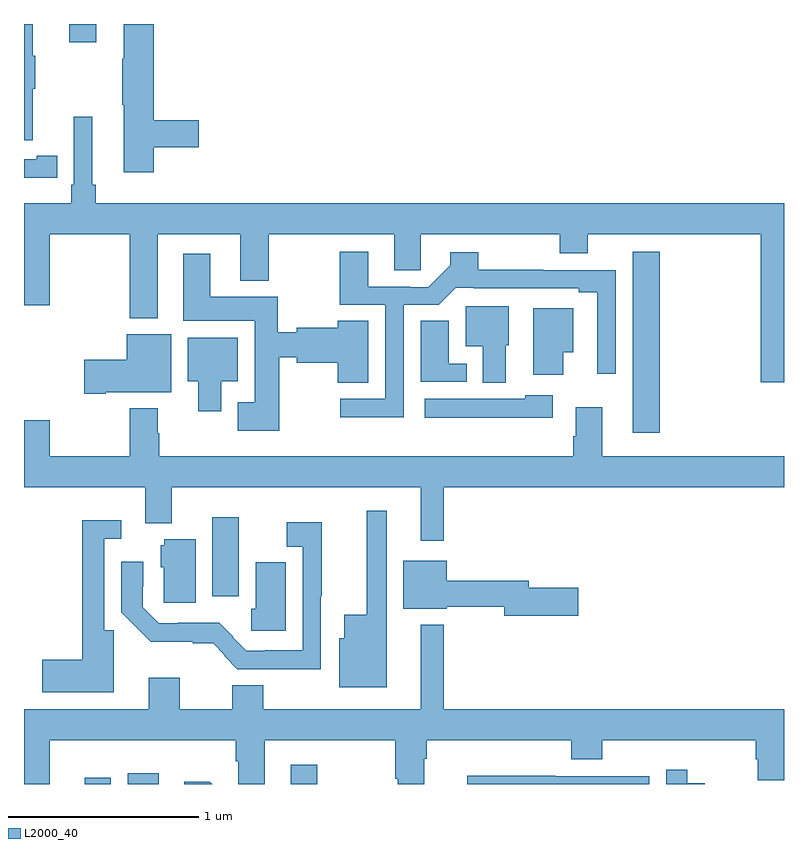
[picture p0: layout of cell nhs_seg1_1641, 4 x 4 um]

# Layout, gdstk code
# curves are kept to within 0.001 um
import gdstk
lib = gdstk.Library(unit=1e-6, precision=1e-09)
def R(c, l, rs):  # rectangles x0, y0, x1, y1
    for r in rs: c.add(gdstk.rectangle(r[:2], r[2:], *l))
def P(c, l, *ps):  # polygons
    for p in ps: c.add(gdstk.Polygon(p, *l))
L2000_40 = (2000, 40)

nhs_seg1_1641 = lib.new_cell('nhs_seg1_1641')
R(nhs_seg1_1641, L2000_40, [(201.32,522.199,201.457,522.232), (201.545,522.199,201.709,522.256), (202.403,522.199,202.543,522.301), (201.992,523.188,202.129,523.603), (204.203,524.049,204.347,525.001), (201.239,526.104,201.379,526.199)])
P(nhs_seg1_1641, L2000_40, [(201.047,525.859),(201.058,525.859),(201.058,526.033),(201.047,526.033),(201.047,526.199),(201,526.199),(201,525.588),(201.047,525.588)],
  [(201.683,525.55),(201.919,525.55),(201.919,525.692),(201.683,525.692),(201.683,526.199),(201.524,526.199),(201.524,526.016),(201.517,526.016),(201.517,525.775),(201.524,525.775),(201.524,525.42),(201.683,525.42)],
  [(201.068,525.39),(201.176,525.39),(201.176,525.506),(201.068,525.506),(201.068,525.486),(201,525.486),(201,525.389),(201.068,525.389)],
  [(201.377,525.352),(201.358,525.352),(201.358,525.712),(201.261,525.712),(201.261,525.352),(201.248,525.352),(201.248,525.256),(201,525.256),(201,524.718),(201.136,524.718),(201.136,525.092),(201.556,525.092),(201.556,524.651),(201.703,524.651),(201.703,525.092),(202.139,525.092),(202.139,524.849),(202.287,524.849),(202.287,525.092),(202.949,525.092),(202.949,524.902),(203.088,524.902),(203.088,525.092),(203.821,525.092),(203.821,524.993),(203.968,524.993),(203.968,525.092),(204.878,525.092),(204.878,524.313),(205,524.313),(205,525.256),(201.377,525.256)],
  [(202.998,524.721),(203.182,524.721),(203.272,524.811),(203.368,524.811),(203.368,524.808),(203.921,524.808),(203.921,524.788),(204.018,524.788),(204.018,524.358),(204.114,524.358),(204.114,524.904),(203.732,524.904),(203.732,524.906),(203.391,524.906),(203.391,524.998),(203.243,524.998),(203.243,524.93),(203.127,524.814),(203.033,524.814),(203.033,524.817),(202.813,524.817),(202.813,525.001),(202.663,525.001),(202.663,524.721),(202.902,524.721),(202.902,524.226),(202.665,524.226),(202.665,524.129),(202.998,524.129)],
  [(202.344,524.444),(202.436,524.444),(202.436,524.417),(202.652,524.417),(202.652,524.311),(202.813,524.311),(202.813,524.636),(202.652,524.636),(202.652,524.6),(202.436,524.6),(202.436,524.576),(202.336,524.576),(202.336,524.764),(201.979,524.764),(201.979,524.989),(201.839,524.989),(201.839,524.636),(202.214,524.636),(202.214,524.209),(202.124,524.209),(202.124,524.057),(202.344,524.057)],
  [(203.536,524.508),(203.551,524.508),(203.551,524.713),(203.324,524.713),(203.324,524.504),(203.414,524.504),(203.414,524.312),(203.536,524.312)],
  [(203.839,524.471),(203.89,524.471),(203.89,524.704),(203.681,524.704),(203.681,524.352),(203.839,524.352)],
  [(203.329,524.412),(203.236,524.412),(203.236,524.636),(203.087,524.636),(203.087,524.316),(203.329,524.316)],
  [(201.43,524.261),(201.775,524.261),(201.775,524.566),(201.542,524.566),(201.542,524.432),(201.318,524.432),(201.318,524.254),(201.43,524.254)],
  [(202.039,524.318),(202.126,524.318),(202.126,524.548),(201.863,524.548),(201.863,524.318),(201.917,524.318),(201.917,524.16),(202.039,524.16)],
  [(203.782,524.245),(203.637,524.245),(203.637,524.227),(203.109,524.227),(203.109,524.126),(203.782,524.126)],
  [(203.209,523.76),(205,523.76),(205,523.924),(204.043,523.924),(204.043,524.182),(203.903,524.182),(203.903,524.03),(203.891,524.03),(203.891,523.924),(201.711,523.924),(201.711,524.045),(201.703,524.045),(201.703,524.176),(201.556,524.176),(201.556,523.924),(201.136,523.924),(201.136,524.113),(201,524.113),(201,523.76),(201.638,523.76),(201.638,523.571),(201.778,523.571),(201.778,523.76),(203.087,523.76),(203.087,523.479),(203.209,523.479)],
  [(202.909,523.636),(202.805,523.636),(202.805,523.09),(202.685,523.09),(202.685,522.966),(202.658,522.966),(202.658,522.707),(202.909,522.707)],
  [(201.473,523.008),(201.423,523.008),(201.423,523.491),(201.511,523.491),(201.511,523.588),(201.307,523.588),(201.307,522.854),(201.096,522.854),(201.096,522.683),(201.473,522.683)],
  [(202.563,523.186),(202.566,523.186),(202.566,523.576),(202.384,523.576),(202.384,523.448),(202.467,523.448),(202.467,522.904),(202.27,522.904),(202.27,522.9),(202.17,522.9),(202.098,522.972),(202.101,522.975),(202.027,523.049),(201.808,523.049),(201.808,523.044),(201.708,523.044),(201.624,523.128),(201.624,523.241),(201.628,523.241),(201.628,523.369),(201.512,523.369),(201.512,523.104),(201.667,522.947),(201.887,522.947),(201.887,522.939),(201.995,522.939),(202.057,522.877),(202.053,522.873),(202.123,522.803),(202.563,522.803)],
  [(201.904,523.486),(201.738,523.486),(201.738,523.455),(201.719,523.455),(201.719,523.341),(201.735,523.341),(201.735,523.152),(201.904,523.152)],
  [(203.917,523.232),(203.656,523.232),(203.656,523.268),(203.224,523.268),(203.224,523.375),(202.997,523.375),(202.997,523.121),(203.224,523.121),(203.224,523.132),(203.528,523.132),(203.528,523.085),(203.917,523.085)],
  [(202.378,523.367),(202.22,523.367),(202.22,523.122),(202.197,523.122),(202.197,523.005),(202.378,523.005)],
  [(201.136,522.428),(202.115,522.428),(202.115,522.318),(202.128,522.318),(202.128,522.199),(202.267,522.199),(202.267,522.428),(202.955,522.428),(202.955,522.226),(202.967,522.226),(202.967,522.199),(203.107,522.199),(203.107,522.332),(203.12,522.332),(203.12,522.428),(203.879,522.428),(203.879,522.329),(204.044,522.329),(204.044,522.428),(204.851,522.428),(204.851,522.33),(204.863,522.33),(204.863,522.22),(205,522.22),(205,522.592),(203.209,522.592),(203.209,523.036),(203.087,523.036),(203.087,522.592),(202.258,522.592),(202.258,522.718),(202.097,522.718),(202.097,522.592),(201.82,522.592),(201.82,522.757),(201.656,522.757),(201.656,522.592),(201,522.592),(201,522.199),(201.136,522.199)],
  [(204.582,522.204),(204.49,522.204),(204.49,522.274),(204.381,522.274),(204.381,522.199),(204.582,522.199)],
  [(204.291,522.24),(203.795,522.24),(203.795,522.242),(203.332,522.242),(203.332,522.199),(204.291,522.199)],
  [(201.978,522.211),(201.843,522.211),(201.843,522.199),(201.99,522.199)])

lib.write_gds('nhs_seg1_1641.gds')
